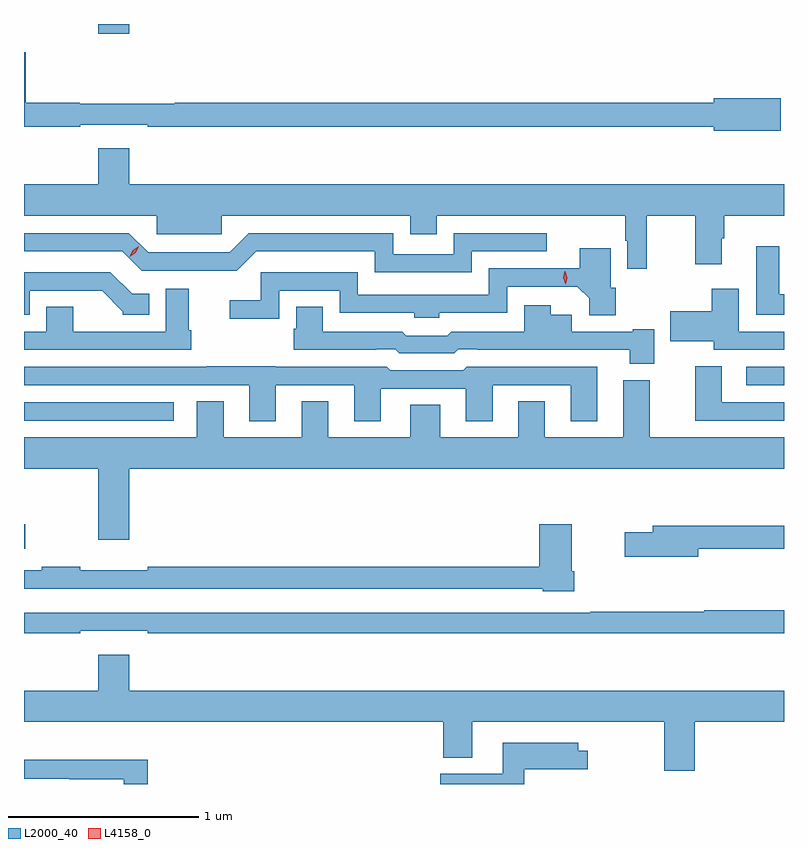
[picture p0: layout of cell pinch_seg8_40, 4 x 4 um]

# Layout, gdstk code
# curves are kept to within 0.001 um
import gdstk
lib = gdstk.Library(unit=1e-6, precision=1e-09)
def R(c, l, rs):  # rectangles x0, y0, x1, y1
    for r in rs: c.add(gdstk.rectangle(r[:2], r[2:], *l))
def P(c, l, *ps):  # polygons
    for p in ps: c.add(gdstk.Polygon(p, *l))
L2000_40 = (2000, 40)
L4158_0 = (4158, 0)

pinch_seg8_40 = lib.new_cell('pinch_seg8_40')
R(pinch_seg8_40, L2000_40, [(967.813,1134.725,967.819,1134.855), (967.813,1135.401,968.602,1135.497), (971.613,1135.587,971.813,1135.683), (968.204,1137.438,968.368,1137.488)])
P(pinch_seg8_40, L2000_40, [(971.797,1137.098),(971.444,1137.098),(971.444,1137.074),(968.606,1137.074),(968.606,1137.067),(968.106,1137.067),(968.106,1137.074),(967.823,1137.074),(967.823,1137.34),(967.813,1137.34),(967.813,1136.946),(968.108,1136.946),(968.108,1136.958),(968.464,1136.958),(968.464,1136.946),(971.444,1136.946),(971.444,1136.927),(971.797,1136.927)],
  [(971.09,1136.48),(971.345,1136.48),(971.345,1136.223),(971.485,1136.223),(971.485,1136.36),(971.498,1136.36),(971.498,1136.48),(971.813,1136.48),(971.813,1136.644),(968.368,1136.644),(968.368,1136.833),(968.204,1136.833),(968.204,1136.644),(967.813,1136.644),(967.813,1136.48),(968.511,1136.48),(968.511,1136.381),(968.854,1136.381),(968.854,1136.48),(969.845,1136.48),(969.845,1136.381),(969.985,1136.381),(969.985,1136.48),(970.977,1136.48),(970.977,1136.348),(970.989,1136.348),(970.989,1136.199),(971.09,1136.199)],
  [(970.17,1136.292),(970.564,1136.292),(970.564,1136.388),(970.074,1136.388),(970.074,1136.277),(969.756,1136.277),(969.756,1136.388),(968.997,1136.388),(968.895,1136.286),(968.466,1136.286),(968.364,1136.388),(967.813,1136.388),(967.813,1136.292),(968.33,1136.292),(968.432,1136.19),(968.933,1136.189),(969.036,1136.292),(969.66,1136.292),(969.66,1136.181),(970.17,1136.181)],
  [(971.813,1136.065),(971.788,1136.065),(971.788,1136.317),(971.666,1136.317),(971.666,1135.958),(971.813,1135.958)],
  [(969.156,1136.085),(969.474,1136.085),(969.474,1135.968),(969.867,1135.968),(969.867,1135.941),(969.999,1135.941),(969.999,1135.968),(970.356,1135.968),(970.356,1136.106),(970.726,1136.105),(970.787,1136.044),(970.787,1135.954),(970.927,1135.954),(970.927,1136.1),(970.9,1136.1),(970.9,1136.308),(970.739,1136.308),(970.739,1136.202),(970.26,1136.202),(970.26,1136.064),(969.57,1136.064),(969.57,1136.181),(969.06,1136.181),(969.06,1136.035),(968.895,1136.035),(968.895,1135.936),(969.156,1135.936)],
  [(967.842,1136.085),(968.225,1136.084),(968.334,1135.974),(968.334,1135.958),(968.473,1135.958),(968.473,1136.067),(968.382,1136.067),(968.268,1136.181),(967.813,1136.181),(967.813,1135.958),(967.842,1135.958)],
  [(971.813,1135.869),(971.575,1135.869),(971.575,1136.095),(971.432,1136.095),(971.432,1135.975),(971.215,1135.975),(971.215,1135.817),(971.444,1135.817),(971.444,1135.773),(971.813,1135.773)],
  [(968.693,1135.876),(968.68,1135.876),(968.68,1136.095),(968.558,1136.095),(968.558,1135.869),(968.071,1135.869),(968.071,1136),(967.931,1136),(967.931,1135.869),(967.813,1135.869),(967.813,1135.773),(968.693,1135.773)],
  [(971.13,1135.882),(971.018,1135.882),(971.018,1135.869),(970.696,1135.869),(970.696,1135.957),(970.585,1135.957),(970.585,1136.008),(970.445,1136.008),(970.445,1135.869),(970.062,1135.869),(970.041,1135.848),(969.825,1135.848),(969.804,1135.869),(969.385,1135.869),(969.385,1136),(969.245,1136),(969.245,1135.884),(969.233,1135.884),(969.233,1135.773),(969.668,1135.773),(969.668,1135.776),(969.768,1135.776),(969.789,1135.755),(970.077,1135.755),(970.098,1135.776),(970.198,1135.776),(970.198,1135.773),(971,1135.773),(971,1135.699),(971.13,1135.699)],
  [(971.813,1135.497),(971.485,1135.497),(971.485,1135.688),(971.345,1135.688),(971.345,1135.401),(971.813,1135.401)],
  [(969.139,1135.587),(969.551,1135.587),(969.551,1135.397),(969.691,1135.397),(969.691,1135.569),(970.139,1135.569),(970.139,1135.397),(970.279,1135.397),(970.279,1135.587),(970.691,1135.587),(970.691,1135.397),(970.831,1135.397),(970.831,1135.683),(970.143,1135.683),(970.125,1135.665),(969.741,1135.665),(969.723,1135.683),(969.135,1135.683),(969.135,1135.686),(968.776,1135.686),(968.776,1135.683),(967.813,1135.683),(967.813,1135.587),(968.999,1135.587),(968.999,1135.397),(969.139,1135.397)],
  [(968.368,1135.148),(971.813,1135.148),(971.813,1135.312),(971.107,1135.312),(971.107,1135.614),(970.967,1135.614),(970.967,1135.312),(970.555,1135.312),(970.555,1135.502),(970.415,1135.502),(970.415,1135.312),(970.003,1135.312),(970.003,1135.484),(969.845,1135.484),(969.845,1135.312),(969.415,1135.312),(969.415,1135.502),(969.275,1135.502),(969.275,1135.312),(968.863,1135.312),(968.863,1135.502),(968.723,1135.502),(968.723,1135.312),(967.813,1135.312),(967.813,1135.148),(968.204,1135.148),(968.204,1134.774),(968.368,1134.774)],
  [(970.709,1134.607),(970.696,1134.607),(970.696,1134.856),(970.526,1134.856),(970.526,1134.632),(968.464,1134.632),(968.464,1134.613),(968.108,1134.613),(968.108,1134.632),(967.906,1134.632),(967.906,1134.612),(967.813,1134.612),(967.813,1134.516),(970.542,1134.516),(970.542,1134.503),(970.709,1134.503)],
  [(971.362,1134.726),(971.813,1134.726),(971.813,1134.847),(971.123,1134.847),(971.123,1134.813),(970.974,1134.813),(970.974,1134.683),(971.362,1134.683)],
  [(968.108,1134.294),(968.464,1134.294),(968.464,1134.282),(971.813,1134.282),(971.813,1134.403),(971.392,1134.403),(971.392,1134.395),(970.792,1134.395),(970.792,1134.39),(967.813,1134.39),(967.813,1134.282),(968.108,1134.282)],
  [(971.342,1133.816),(971.813,1133.816),(971.813,1133.98),(968.368,1133.98),(968.368,1134.169),(968.204,1134.169),(968.204,1133.98),(967.813,1133.98),(967.813,1133.816),(970.019,1133.816),(970.019,1133.626),(970.171,1133.626),(970.171,1133.816),(971.182,1133.816),(971.182,1133.559),(971.342,1133.559)],
  [(970.447,1133.565),(970.78,1133.565),(970.78,1133.662),(970.729,1133.662),(970.729,1133.704),(970.334,1133.704),(970.334,1133.541),(970.004,1133.541),(970.004,1133.488),(970.447,1133.488)],
  [(968.465,1133.615),(967.813,1133.615),(967.813,1133.515),(968.052,1133.515),(968.052,1133.512),(968.337,1133.512),(968.337,1133.488),(968.465,1133.488)])
P(pinch_seg8_40, L4158_0, [(970.663,1136.117),(970.663,1136.117),(970.652,1136.152),(970.66,1136.188),(970.661,1136.188),(970.661,1136.188),(970.672,1136.153),(970.663,1136.117)],
  [(968.37,1136.264),(968.37,1136.265),(968.386,1136.298),(968.416,1136.319),(968.417,1136.319),(968.417,1136.319),(968.401,1136.285),(968.37,1136.264)])

lib.write_gds('pinch_seg8_40.gds')
